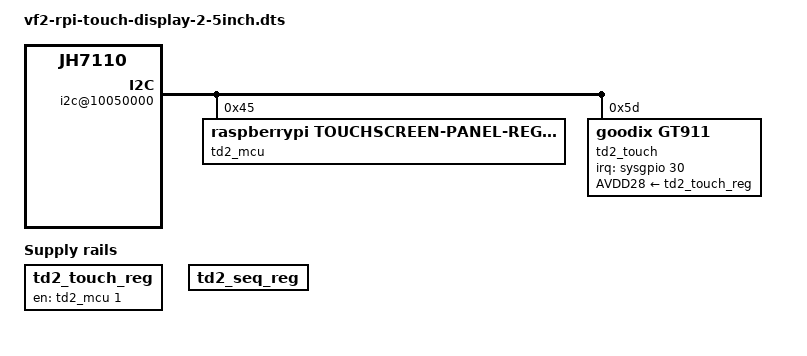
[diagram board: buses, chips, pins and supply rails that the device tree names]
/*
 * VisionFive 2 (JH7110) overlay: Raspberry Pi Touch Display 2, 5-inch (720x1280)
 *
 * Pipeline already present in the vendor DT:
 *   dc8200 -> dsi-output encoder -> mipi@295d0000 port@1 (input)
 *                                -> mipi@295d0000 port@0 (output) -> panel
 * This overlay only replaces the panel end of that chain.
 *
 * Requires kernel modules:
 *   panel-ilitek-ili9881c   (with the raspberrypi,dsi-5inch descriptor)
 *   rpi-panel-v2-regulator  (panel MCU at i2c 0x45: reset gpio + backlight + touch rail)
 *   goodix                  (GT911 touch, already built in the vendor kernel)
 *
 * Board I2C: i2c2 = i2c@10050000 is the bus wired to the DSI FPC connector.
 */

/dts-v1/;
/plugin/;

/ {
	compatible = "starfive,jh7110";

	/* ---- 1. Disable the vendor panels that squat on the same bus/addresses ---- */

	/* Seeed/RPi-v1 panel MCU is also at 0x45 and would collide. */
	fragment@0 {
		target-path = "/soc/i2c@10050000/seeed_plane_i2c@45";
		__overlay__ {
			status = "disabled";
		};
	};

	fragment@1 {
		target-path = "/soc/i2c@10050000/panel_radxa@19";
		__overlay__ {
			status = "disabled";
		};
	};

	/* Vendor GT911 node uses host GPIOs that the Display 2 does not drive. */
	fragment@2 {
		target-path = "/soc/i2c@10050000/touchscreen@14";
		__overlay__ {
			status = "disabled";
		};
	};

	/* FT5406 belongs to the v1 display. */
	fragment@3 {
		target-path = "/soc/i2c@10050000/tinker_ft5406@38";
		__overlay__ {
			status = "disabled";
		};
	};

	/* ---- 2. Touch Display 2 devices on the DSI connector's I2C bus ---- */
	fragment@4 {
		target-path = "/soc/i2c@10050000";
		__overlay__ {
			#address-cells = <1>;
			#size-cells = <0>;
			status = "okay";

			td2_mcu: display_mcu@45 {
				compatible = "raspberrypi,touchscreen-panel-regulator-v2",
					      "raspberrypi,v2-touchscreen-panel-regulator";
				reg = <0x45>;
				gpio-controller;
				#gpio-cells = <2>;
				status = "okay";
			};

			td2_touch: touchscreen@5d {
				compatible = "goodix,gt911";
				reg = <0x5d>;
				AVDD28-supply = <&td2_touch_reg>;
				irq-gpios = <&sysgpio 30 0>;
				touchscreen-size-x = <720>;
				touchscreen-size-y = <1280>;
				touchscreen-x-mm = <62>;
				touchscreen-y-mm = <110>;
				status = "okay";
			};
		};
	};

	/* ---- 3. Touch rail, switched by GPIO 1 of the panel MCU ---- */
	fragment@5 {
		target-path = "/";
		__overlay__ {
			td2_touch_reg: td2-touch-regulator {
				compatible = "regulator-fixed";
				regulator-name = "td2_touch_reg";
				gpio = <&td2_mcu 1 0>;		/* GPIO_ACTIVE_HIGH */
				startup-delay-us = <50000>;
				enable-active-high;
			};
		};
	};

	/* ---- 4. Point the DSI host's output endpoint at the new panel ---- *
	 * U-Boot overlays cannot delete nodes, so endpoint@0's remote-endpoint
	 * is overridden in place rather than removed.
	 */
	fragment@6 {
		target-path = "/soc/mipi@295d0000/ports/port@0/endpoint@0";
		__overlay__ {
			remote-endpoint = <&td2_panel_in>;
		};
	};

	/* ---- 5. The panel itself, as a DSI child on virtual channel 0 ---- */
	fragment@7 {
		target-path = "/soc/mipi@295d0000";
		__overlay__ {
			#address-cells = <1>;
			#size-cells = <0>;
			status = "okay";

			td2_panel: panel@0 {
				compatible = "raspberrypi,dsi-5inch";
				reg = <0>;
				reset-gpio = <&td2_mcu 0 1>;	/* GPIO_ACTIVE_LOW */
				backlight = <&td2_mcu>;
				status = "okay";

				port {
					td2_panel_in: endpoint {
						remote-endpoint = <&dsi0_output>;
					};
				};
			};
		};
	};

	/* ---- 6. Hold the display subsystem back until the panel driver exists ----
	 * vs_simple_enc's encoder_bind discards -EPROBE_DEFER and initialises DRM
	 * without the DSI output. It binds at ~6.2s; the initramfs cannot load a
	 * module before ~6.8s, so the panel always misses the window.
	 *
	 * fw_devlink treats any "*-supply" phandle as a supplier dependency, even
	 * one the driver never requests. Pointing dc8200 at a regulator-fixed --
	 * whose driver is a module -- defers dc8200, and therefore the whole
	 * display subsystem, until that module loads. Load the panel driver before
	 * it and the encoder finds the panel on the first try.
	 */
	fragment@8 {
		target-path = "/";
		__overlay__ {
			td2_seq_reg: td2-sequencing-regulator {
				compatible = "regulator-fixed";
				regulator-name = "td2_seq";
				regulator-always-on;
			};
		};
	};

	fragment@9 {
		target-path = "/soc/dc8200@29400000";
		__overlay__ {
			td2seq-supply = <&td2_seq_reg>;
		};
	};
};
